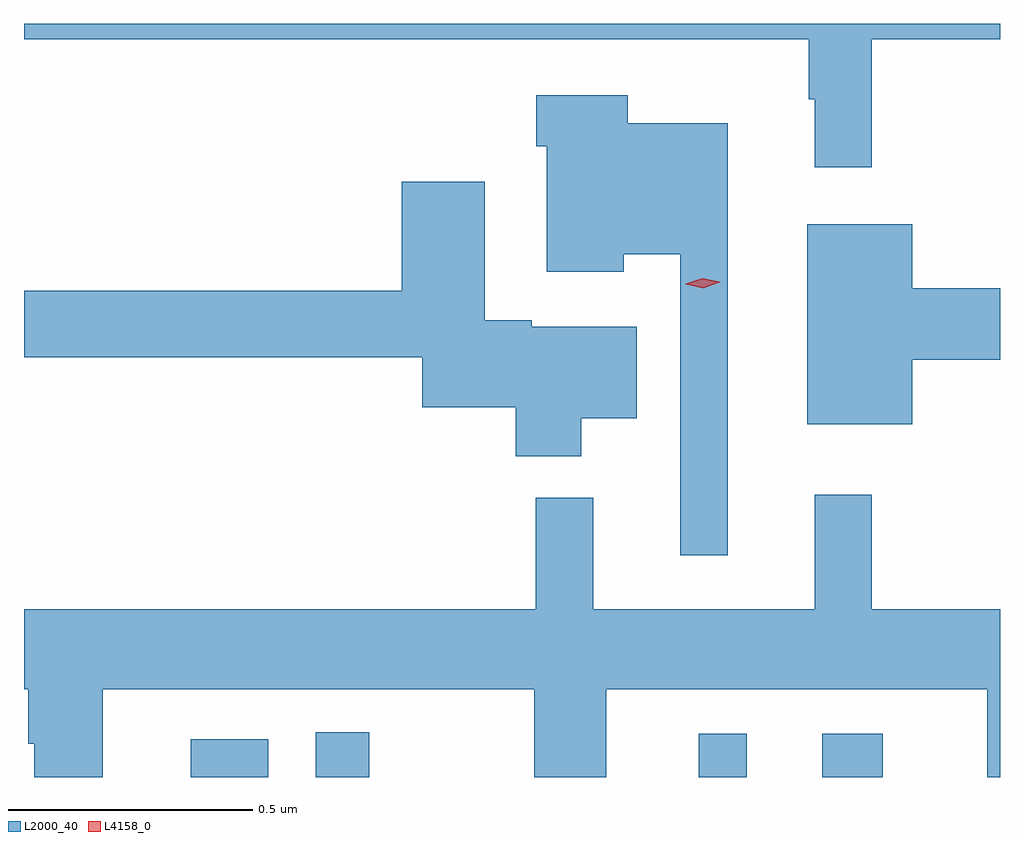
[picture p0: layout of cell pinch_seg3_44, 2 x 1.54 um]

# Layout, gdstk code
import gdstk
lib = gdstk.Library(unit=1e-6, precision=1e-09)
def R(c, l, rs):  # rectangles x0, y0, x1, y1
    for r in rs: c.add(gdstk.rectangle(r[:2], r[2:], *l))
def P(c, l, *ps):  # polygons
    for p in ps: c.add(gdstk.Polygon(p, *l))
L2000_40 = (2000, 40)
L4158_0 = (4158, 0)

pinch_seg3_44 = lib.new_cell('pinch_seg3_44')
R(pinch_seg3_44, L2000_40, [(1046.462,747.355,1046.62,747.433), (1046.718,747.355,1046.827,747.448), (1047.503,747.355,1047.601,747.445), (1047.756,747.355,1047.88,747.445)])
P(pinch_seg3_44, L2000_40, [(1047.857,748.868),(1048.12,748.868),(1048.12,748.9),(1046.12,748.9),(1046.12,748.868),(1047.728,748.868),(1047.728,748.745),(1047.74,748.745),(1047.74,748.605),(1047.857,748.605)],
  [(1047.562,748.696),(1047.357,748.696),(1047.357,748.753),(1047.17,748.753),(1047.17,748.649),(1047.191,748.649),(1047.191,748.391),(1047.349,748.391),(1047.349,748.427),(1047.465,748.427),(1047.465,747.81),(1047.562,747.81)],
  [(1047.262,748.091),(1047.376,748.091),(1047.376,748.279),(1047.16,748.279),(1047.16,748.292),(1047.064,748.292),(1047.064,748.576),(1046.894,748.576),(1046.894,748.352),(1046.12,748.352),(1046.12,748.216),(1046.936,748.216),(1046.936,748.114),(1047.128,748.114),(1047.128,748.013),(1047.262,748.013)],
  [(1047.94,748.211),(1048.12,748.211),(1048.12,748.358),(1047.94,748.358),(1047.94,748.489),(1047.725,748.489),(1047.725,748.079),(1047.94,748.079)],
  [(1046.281,747.536),(1047.166,747.536),(1047.166,747.355),(1047.313,747.355),(1047.313,747.536),(1048.094,747.536),(1048.094,747.355),(1048.12,747.355),(1048.12,747.7),(1047.857,747.7),(1047.857,747.934),(1047.74,747.934),(1047.74,747.7),(1047.287,747.7),(1047.287,747.928),(1047.169,747.928),(1047.169,747.7),(1046.12,747.7),(1046.12,747.536),(1046.129,747.536),(1046.129,747.424),(1046.141,747.424),(1046.141,747.355),(1046.281,747.355)])
P(pinch_seg3_44, L4158_0, [(1047.512,748.358),(1047.476,748.366),(1047.475,748.366),(1047.476,748.367),(1047.51,748.378),(1047.546,748.371),(1047.547,748.37),(1047.546,748.37)])

lib.write_gds('pinch_seg3_44.gds')
